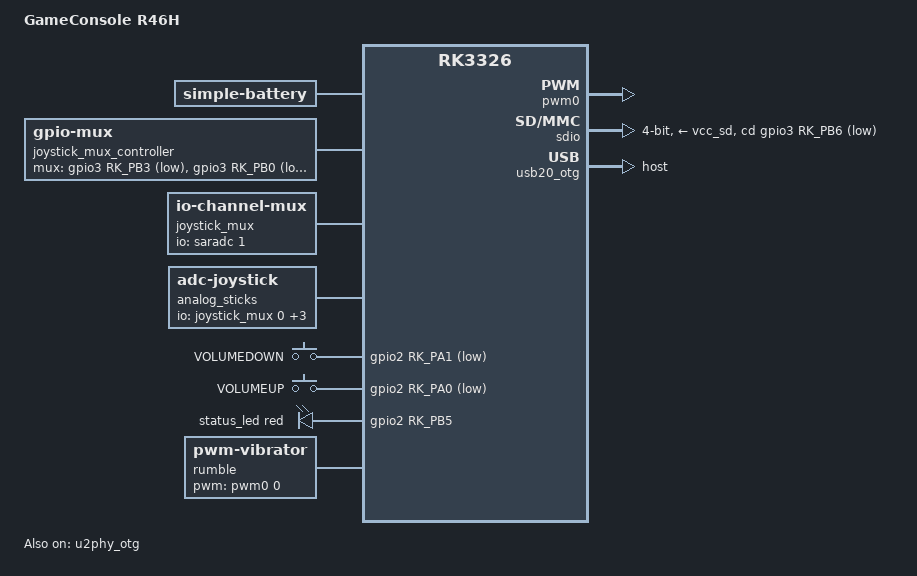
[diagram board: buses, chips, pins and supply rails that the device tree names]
// SPDX-License-Identifier: (GPL-2.0+ OR MIT)
/*
 * First-pass mainline device tree for the unbranded R46H handheld.
 *
 * The board is electrically close to the ODROID-GO Super, so reuse the
 * upstream common board description and override only verified R46H wiring.
 */

/dts-v1/;
#include "rk3326-odroid-go.dtsi"

/delete-node/ &btn_f1;
/delete-node/ &btn_f2;
/delete-node/ &btn_f6;
/delete-node/ &gpio_led;
/delete-node/ &pwm_led;
/delete-node/ &vcc_host;

/ {
	model = "GameConsole R46H";
	compatible = "rockchip,rk3326-r46h-linux", "rockchip,rk3326";
	chassis-type = "handset";

	aliases {
		mmc0 = &sdmmc;
		mmc1 = &sdio;
	};

	battery: battery {
		compatible = "simple-battery";
		charge-full-design-microamp-hours = <3380000>;
		charge-term-current-microamp = <52000>;
		constant-charge-current-max-microamp = <2000000>;
		constant-charge-voltage-max-microvolt = <4200000>;
		factory-internal-resistance-micro-ohms = <100000>;
		voltage-max-design-microvolt = <4200000>;
		voltage-min-design-microvolt = <3300000>;

		/* Converted from the downstream 4.4 R46H battery table. */
		ocv-capacity-celsius = <20>;
		ocv-capacity-table-0 =
			<4046000 100>, <4001000 95>, <3967000 90>,
			<3940000 85>, <3910000 80>, <3870000 75>,
			<3830000 70>, <3790000 65>, <3750000 60>,
			<3720000 55>, <3690000 50>, <3650000 45>,
			<3610000 40>, <3570000 35>, <3540000 30>,
			<3500000 25>, <3460000 20>, <3420000 15>,
			<3380000 10>, <3340000 5>, <3300000 0>;
	};

	joystick_mux_controller: mux-controller {
		compatible = "gpio-mux";
		pinctrl-names = "default";
		pinctrl-0 = <&mux_en_pins>;
		#mux-control-cells = <0>;

		mux-gpios = <&gpio3 RK_PB3 GPIO_ACTIVE_LOW>,
			    <&gpio3 RK_PB0 GPIO_ACTIVE_LOW>;
	};

	joystick_mux: adc-mux {
		compatible = "io-channel-mux";
		io-channels = <&saradc 1>;
		io-channel-names = "parent";
		#io-channel-cells = <1>;

		mux-controls = <&joystick_mux_controller>;
		channels = "0", "1", "2", "3";
	};

	analog_sticks: adc-joystick {
		compatible = "adc-joystick";
		io-channels = <&joystick_mux 0>,
			      <&joystick_mux 1>,
			      <&joystick_mux 2>,
			      <&joystick_mux 3>;
		poll-interval = <10>;
		#address-cells = <1>;
		#size-cells = <0>;

		/*
		 * The mux feeds the unsigned 10-bit RK3326 SARADC. Hardware sweeps
		 * exceeded the borrowed ODROID-GO Super limits, so advertise the
		 * complete converter domain. X and Y preserve the R46H polarity.
		 */
		axis@0 {
			reg = <0>;
			abs-flat = <10>;
			abs-fuzz = <10>;
			abs-range = <1023 0>;
			linux,code = <ABS_X>;
		};

		axis@1 {
			reg = <1>;
			abs-flat = <10>;
			abs-fuzz = <10>;
			abs-range = <0 1023>;
			linux,code = <ABS_RX>;
		};

		axis@2 {
			reg = <2>;
			abs-flat = <10>;
			abs-fuzz = <10>;
			abs-range = <1023 0>;
			linux,code = <ABS_Y>;
		};

		axis@3 {
			reg = <3>;
			abs-flat = <10>;
			abs-fuzz = <10>;
			abs-range = <0 1023>;
			linux,code = <ABS_RY>;
		};
	};

	gpio-keys-vol {
		compatible = "gpio-keys";
		autorepeat;
		pinctrl-0 = <&btn_pins_vol>;
		pinctrl-names = "default";

		button-vol-down {
			gpios = <&gpio2 RK_PA1 GPIO_ACTIVE_LOW>;
			label = "VOLUMEDOWN";
			linux,code = <KEY_VOLUMEDOWN>;
		};

		button-volume-up {
			gpios = <&gpio2 RK_PA0 GPIO_ACTIVE_LOW>;
			label = "VOLUMEUP";
			linux,code = <KEY_VOLUMEUP>;
		};
	};

	gpio_leds: gpio-leds {
		compatible = "gpio-leds";
		pinctrl-names = "default";
		pinctrl-0 = <&status_led_pin>;

		/*
		 * This two-colour LED is driven by one GPIO. High is red and low
		 * is blue; gpio-leds exposes the red state for initial bring-up.
		 */
		status_led: led-0 {
			color = <LED_COLOR_ID_RED>;
			function = LED_FUNCTION_STATUS;
			gpios = <&gpio2 RK_PB5 GPIO_ACTIVE_HIGH>;
			default-state = "keep";
		};
	};

	rumble: pwm-vibrator {
		compatible = "pwm-vibrator";
		pwm-names = "enable";
		pwms = <&pwm0 0 200000000 0>;
	};

	/* The R46H jack detect signal is active-low on GPIO2_C6. */
	rk817-sound {
		simple-audio-card,hp-det-gpio = <&gpio2 RK_PC6 GPIO_ACTIVE_LOW>;
	};
};

&backlight {
	brightness-levels = <0 160>;
	default-brightness-level = <80>;
	num-interpolated-steps = <159>;
	power-supply = <&vcc_bl>;
	pwms = <&pwm1 0 40000 0>;
};

&builtin_gamepad {
	button-sw11 {
		label = "THUMBR";
	};

	button-sw12 {
		label = "THUMBL";
	};

	button-sw13 {
		label = "F5";
	};

	button-sw19 {
		gpios = <&gpio3 RK_PB1 GPIO_ACTIVE_LOW>;
		label = "SELECT";
		linux,code = <BTN_SELECT>;
	};

	button-sw20 {
		gpios = <&gpio3 RK_PB7 GPIO_ACTIVE_LOW>;
		label = "TOP-RIGHT 2";
		linux,code = <BTN_TR2>;
	};

	button-sw21 {
		gpios = <&gpio3 RK_PB2 GPIO_ACTIVE_LOW>;
		label = "TOP-LEFT 2";
		linux,code = <BTN_TL2>;
	};

	button-sw22 {
		gpios = <&gpio3 RK_PB4 GPIO_ACTIVE_LOW>;
		label = "START";
		linux,code = <BTN_START>;
	};
};

&internal_display {
	compatible = "gameconsole,r46h-panel";
	backlight-supply = <&vcc_bl>;
	power-supply = <&vcc_lcd>;
	reset-gpios = <&gpio3 RK_PC0 GPIO_ACTIVE_LOW>;
	/delete-property/ rotation;
};

&io_domains {
	vccio1-supply = <&vccio_sd>;
};

&pwm0 {
	status = "okay";
};

&pwm3 {
	status = "disabled";
};

&rk817 {
	system-power-controller;
	vcc9-supply = <&usb_midu>;

	regulators {
		vcc_wifi: LDO_REG9 {
			regulator-name = "vcc_wifi";
			regulator-min-microvolt = <3300000>;
			regulator-max-microvolt = <3300000>;
			regulator-always-on;

			regulator-state-mem {
				regulator-off-in-suspend;
				regulator-suspend-microvolt = <3300000>;
			};
		};

		otg_switch: OTG_SWITCH {
			regulator-name = "otg_switch";
			regulator-boot-on;
		};
	};
};

&rk817_charger {
	dc-det-gpios = <&gpio0 RK_PB3 GPIO_ACTIVE_HIGH>;
	monitored-battery = <&battery>;
};

&sdio {
	bus-width = <4>;
	cap-mmc-highspeed;
	cap-sd-highspeed;
	card-detect-delay = <800>;
	cd-gpios = <&gpio3 RK_PB6 GPIO_ACTIVE_LOW>;
	disable-wp;
	no-mmc;
	no-sdio;
	sd-uhs-sdr12;
	sd-uhs-sdr25;
	sd-uhs-sdr50;
	sd-uhs-sdr104;
	vmmc-supply = <&vcc_sd>;
	vqmmc-supply = <&vccio_sd>;
	status = "okay";
};

&sfc {
	status = "disabled";
};

/* The running 4.4 system enumerates the internal USB hub on this DWC2. */
&u2phy_otg {
	status = "okay";
};

&usb20_otg {
	dr_mode = "host";
	status = "okay";
};

&pinctrl {
	btns {
		btn_pins: btn-pins {
			rockchip,pins =
				<1 RK_PA2 RK_FUNC_GPIO &pcfg_pull_up>,
				<1 RK_PA5 RK_FUNC_GPIO &pcfg_pull_up>,
				<1 RK_PA6 RK_FUNC_GPIO &pcfg_pull_up>,
				<1 RK_PA7 RK_FUNC_GPIO &pcfg_pull_up>,
				<1 RK_PB4 RK_FUNC_GPIO &pcfg_pull_up>,
				<1 RK_PB5 RK_FUNC_GPIO &pcfg_pull_up>,
				<1 RK_PB6 RK_FUNC_GPIO &pcfg_pull_up>,
				<1 RK_PB7 RK_FUNC_GPIO &pcfg_pull_up>,
				<2 RK_PA2 RK_FUNC_GPIO &pcfg_pull_up>,
				<2 RK_PA3 RK_FUNC_GPIO &pcfg_pull_up>,
				<2 RK_PA4 RK_FUNC_GPIO &pcfg_pull_up>,
				<2 RK_PA6 RK_FUNC_GPIO &pcfg_pull_up>,
				<2 RK_PA7 RK_FUNC_GPIO &pcfg_pull_up>,
				<3 RK_PB1 RK_FUNC_GPIO &pcfg_pull_up>,
				<3 RK_PB2 RK_FUNC_GPIO &pcfg_pull_up>,
				<3 RK_PB4 RK_FUNC_GPIO &pcfg_pull_up>,
				<3 RK_PB7 RK_FUNC_GPIO &pcfg_pull_up>;
		};

		btn_pins_vol: btn-pins-vol {
			rockchip,pins =
				<2 RK_PA0 RK_FUNC_GPIO &pcfg_pull_up>,
				<2 RK_PA1 RK_FUNC_GPIO &pcfg_pull_up>;
		};
	};

	joystick {
		mux_en_pins: mux-pins {
			rockchip,pins =
				<3 RK_PB5 RK_FUNC_GPIO &pcfg_output_low>;
		};
	};

	leds {
		status_led_pin: status-led-pin {
			rockchip,pins =
				<2 RK_PB5 RK_FUNC_GPIO &pcfg_pull_none>;
		};
	};
};
